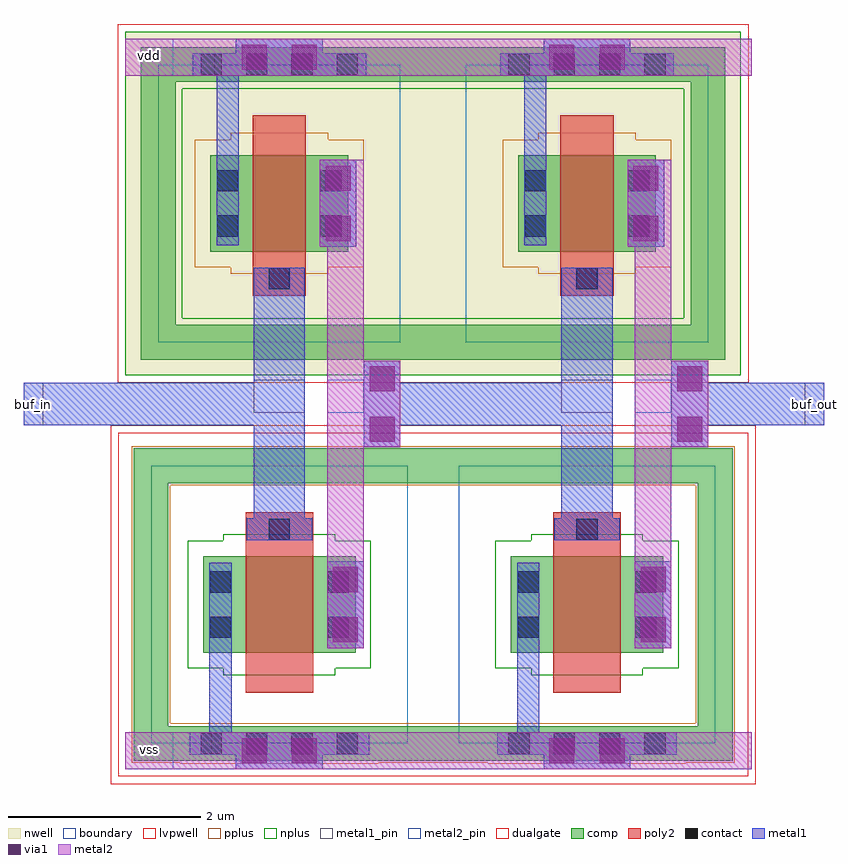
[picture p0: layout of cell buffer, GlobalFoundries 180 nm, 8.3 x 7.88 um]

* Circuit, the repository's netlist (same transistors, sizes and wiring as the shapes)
* NGSPICE file created from buffer.ext - technology: gf180mcuD

.subckt XM2_inv G D w_n319_n356# S
X0 D G S w_n319_n356# pfet_06v0 ad=0.44p pd=2.88u as=0.44p ps=2.88u w=1u l=0.55u
.ends

.subckt XM1_inv G D a_n302_n324# S
X0 D G S a_n302_n324# nfet_06v0 ad=0.44p pd=2.88u as=0.44p ps=2.88u w=1u l=0.7u
.ends

.subckt inv inv_out vdd inv_in vss
XXM2_inv_0 inv_in inv_out vdd vdd XM2_inv
XXM1_inv_0 inv_in inv_out vss vss XM1_inv
.ends

.subckt buffer vdd vss buf_in buf_out
Xinv_0 buf_out vdd inv_0/inv_in vss inv
Xinv_1 inv_0/inv_in vdd buf_in vss inv
.ends

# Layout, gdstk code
import gdstk
lib = gdstk.Library(unit=1e-6, precision=1e-09)
def R(c, l, rs):  # rectangles x0, y0, x1, y1
    for r in rs: c.add(gdstk.rectangle(r[:2], r[2:], *l))
def A(c, l, x, y, w, h, nx, ny, dx, dy):  # array of equal rectangles
    R(c, l, [(x+i*dx, y+j*dy, x+i*dx+w, y+j*dy+h) for i in range(nx) for j in range(ny)])
boundary = (0, 0)
nwell = (21, 0)
comp = (22, 0)
poly2 = (30, 0)
pplus = (31, 0)
nplus = (32, 0)
contact = (33, 0)
metal1 = (34, 0)
metal1_pin = (34, 10)
via1 = (35, 0)
metal2 = (36, 0)
metal2_pin = (36, 10)
dualgate = (55, 0)
lvpwell = (204, 0)

xm2_inv1 = lib.new_cell('XM2_inv1')
R(xm2_inv1, boundary, [(-1.255,-1.44,1.255,1.44)])
R(xm2_inv1, nwell, [(-1.595,-1.78,1.595,1.78)])
R(xm2_inv1, comp, [(-1.435,-1.62,1.595,-1.26), (-1.435,-1.26,-1.075,1.26), (-0.715,-0.5,0.715,0.5), (-1.435,1.26,1.595,1.62)])
R(xm2_inv1, poly2, [(-0.275,-0.915,0.275,0.96)])
R(xm2_inv1, pplus, [(-0.505,-0.73,0.505,-0.66), (-0.875,-0.66,0.875,0.66), (-0.505,0.66,0.505,0.73)])
R(xm2_inv1, nplus, [(-1.595,-1.78,1.595,-1.19), (-1.595,-1.19,-1.005,1.19), (-1.595,1.19,1.595,1.78)])
A(xm2_inv1, contact, -0.815, -1.55, 0.22, 0.22, 4, 1, 0.47, 0)
R(xm2_inv1, contact, [(-0.645,-0.345,-0.425,-0.125), (0.425,-0.345,0.645,-0.125), (-0.645,0.125,-0.425,0.345), (0.425,0.125,0.645,0.345), (-0.11,0.67,0.11,0.89)])
R(xm2_inv1, metal1, [(-0.9,-1.555,0.9,-1.325), (-0.65,-0.435,-0.42,0.435), (0.42,-0.435,0.65,0.435), (-0.265,0.665,0.265,0.895)])
R(xm2_inv1, dualgate, [(-1.675,-1.86,1.675,1.86)])
xm2_inv1.add(gdstk.Label('D', (0.6,0), layer=34, texttype=0))
xm2_inv1.add(gdstk.Label('S', (-0.6,0), layer=34, texttype=0))
xm2_inv1.add(gdstk.Label('G', (0,0), layer=30, texttype=10))
xm2_inv1.add(gdstk.Label('VSUBS', (-1.418,-1.358), layer=21, texttype=10))

xm1_inv1 = lib.new_cell('XM1_inv1')
R(xm1_inv1, boundary, [(-1.33,-1.44,1.33,1.44)])
R(xm1_inv1, comp, [(-1.51,-1.62,1.595,-1.26), (-1.51,-1.26,-1.15,1.26), (-0.79,-0.5,0.79,0.5), (-1.51,1.26,1.6,1.62)])
R(xm1_inv1, poly2, [(-0.35,-0.915,0.35,0.96), (-0.35,-0.915,0.35,0.96)])
R(xm1_inv1, pplus, [(-1.025,-1.65,1.025,-1.64), (-1.53,-1.64,1.595,-1.23), (-1.53,-1.23,-1.13,1.24), (-1.53,1.24,1.6,1.64)])
R(xm1_inv1, nplus, [(-0.58,-0.73,0.58,-0.66), (-0.95,-0.66,0.95,0.66), (-0.58,0.66,0.58,0.73)])
A(xm1_inv1, contact, -0.815, -1.55, 0.22, 0.22, 4, 1, 0.47, 0)
R(xm1_inv1, contact, [(-0.72,-0.345,-0.5,-0.125), (0.5,-0.345,0.72,-0.125), (-0.72,0.125,-0.5,0.345), (0.5,0.125,0.72,0.345), (-0.11,0.67,0.11,0.89)])
R(xm1_inv1, metal1, [(-0.93,-1.555,0.93,-1.325), (-0.725,-0.435,-0.495,0.435), (0.495,-0.435,0.725,0.435), (-0.34,0.665,0.34,0.895)])
R(xm1_inv1, dualgate, [(-1.75,-1.86,1.75,1.86)])
R(xm1_inv1, lvpwell, [(-1.67,-1.78,1.67,1.78)])
xm1_inv1.add(gdstk.Label('D', (0.6,0), layer=34, texttype=0))
xm1_inv1.add(gdstk.Label('S', (-0.6,0), layer=34, texttype=0))
xm1_inv1.add(gdstk.Label('G', (0,0), layer=30, texttype=10))
xm1_inv1.add(gdstk.Label('VSUBS', (-1.424,-1.445), layer=204, texttype=10))

inv1 = lib.new_cell('inv1')
R(inv1, metal1, [(3.55,-5.865,4.45,-5.485), (3.275,-5.715,3.505,-3.725), (4.495,-4.61,4.875,-3.71), (3.735,-3.495,4.265,-0.665), (4.42,-0.45,4.8,0.45), (3.35,-0.435,3.58,1.555), (3.55,1.325,4.45,1.705)])
R(inv1, metal1_pin, [(3.07,-5.715,3.3,-5.485), (3.735,-2.17,4.265,-1.83), (3.1,1.325,3.33,1.555)])
R(inv1, via1, [(3.61,-5.805,3.87,-5.545), (4.13,-5.805,4.39,-5.545), (4.555,-4.55,4.815,-4.29), (4.555,-4.03,4.815,-3.77), (4.48,-0.39,4.74,-0.13), (4.48,0.13,4.74,0.39), (3.61,1.385,3.87,1.645), (4.13,1.385,4.39,1.645)])
R(inv1, metal2, [(2.5,-5.865,5.595,-5.485), (3.55,-5.865,4.45,-5.485), (4.495,-4.61,4.875,-3.71), (4.495,-4.61,4.875,0.45), (4.42,-0.45,4.8,0.45), (2.5,1.325,5.595,1.705), (3.55,1.325,4.45,1.705)])
R(inv1, metal2_pin, [(4.495,-2.17,4.875,-1.83)])
inv1.add(gdstk.Reference(xm2_inv1, (4,0), x_reflection=True))
inv1.add(gdstk.Reference(xm1_inv1, (4,-4.16)))
inv1.add(gdstk.Label('vdd', (3.214,1.44), layer=34, texttype=10))
inv1.add(gdstk.Label('vss', (3.184,-5.6), layer=34, texttype=10))
inv1.add(gdstk.Label('inv_in', (3.999,-1.987), layer=34, texttype=10))
inv1.add(gdstk.Label('inv_out', (4.68,-1.998), layer=36, texttype=10))

xm2_inv2 = lib.new_cell('XM2_inv2')
R(xm2_inv2, boundary, [(-1.255,-1.44,1.255,1.44)])
R(xm2_inv2, nwell, [(-1.595,-1.78,1.595,1.78)])
R(xm2_inv2, comp, [(-1.595,-1.62,1.435,-1.26), (1.075,-1.26,1.435,1.26), (-0.715,-0.5,0.715,0.5), (-1.595,1.26,1.435,1.62)])
R(xm2_inv2, poly2, [(-0.275,-0.915,0.275,0.96)])
R(xm2_inv2, pplus, [(-0.505,-0.73,0.505,-0.66), (-0.875,-0.66,0.875,0.66), (-0.505,0.66,0.505,0.73)])
R(xm2_inv2, nplus, [(-1.595,-1.78,1.595,-1.19), (1.005,-1.19,1.595,1.19), (-1.595,1.19,1.595,1.78)])
A(xm2_inv2, contact, -0.815, -1.55, 0.22, 0.22, 4, 1, 0.47, 0)
R(xm2_inv2, contact, [(-0.645,-0.345,-0.425,-0.125), (0.425,-0.345,0.645,-0.125), (-0.645,0.125,-0.425,0.345), (0.425,0.125,0.645,0.345), (-0.11,0.67,0.11,0.89)])
R(xm2_inv2, metal1, [(-0.9,-1.555,0.9,-1.325), (-0.65,-0.435,-0.42,0.435), (0.42,-0.435,0.65,0.435), (-0.265,0.665,0.265,0.895)])
R(xm2_inv2, dualgate, [(-1.675,-1.86,1.675,1.86)])
xm2_inv2.add(gdstk.Label('D', (0.6,0), layer=34, texttype=0))
xm2_inv2.add(gdstk.Label('S', (-0.6,0), layer=34, texttype=0))
xm2_inv2.add(gdstk.Label('G', (0,0), layer=30, texttype=10))
xm2_inv2.add(gdstk.Label('VSUBS', (-1.418,-1.358), layer=21, texttype=10))

xm1_inv2 = lib.new_cell('XM1_inv2')
R(xm1_inv2, boundary, [(-1.33,-1.44,1.33,1.44)])
R(xm1_inv2, comp, [(-1.595,-1.62,1.51,-1.26), (1.15,-1.26,1.51,1.26), (-0.79,-0.5,0.79,0.5), (-1.59,1.26,1.51,1.62)])
R(xm1_inv2, poly2, [(-0.35,-0.915,0.35,0.96), (-0.35,-0.915,0.35,0.96)])
R(xm1_inv2, pplus, [(-1.025,-1.65,1.025,-1.64), (-1.595,-1.64,1.53,-1.23), (1.13,-1.23,1.53,1.24), (-1.59,1.24,1.53,1.64)])
R(xm1_inv2, nplus, [(-0.58,-0.73,0.58,-0.66), (-0.95,-0.66,0.95,0.66), (-0.58,0.66,0.58,0.73)])
A(xm1_inv2, contact, -0.815, -1.55, 0.22, 0.22, 4, 1, 0.47, 0)
R(xm1_inv2, contact, [(-0.72,-0.345,-0.5,-0.125), (0.5,-0.345,0.72,-0.125), (-0.72,0.125,-0.5,0.345), (0.5,0.125,0.72,0.345), (-0.11,0.67,0.11,0.89)])
R(xm1_inv2, metal1, [(-0.93,-1.555,0.93,-1.325), (-0.725,-0.435,-0.495,0.435), (0.495,-0.435,0.725,0.435), (-0.34,0.665,0.34,0.895)])
R(xm1_inv2, dualgate, [(-1.75,-1.86,1.75,1.86)])
R(xm1_inv2, lvpwell, [(-1.67,-1.78,1.67,1.78)])
xm1_inv2.add(gdstk.Label('D', (0.6,0), layer=34, texttype=0))
xm1_inv2.add(gdstk.Label('S', (-0.6,0), layer=34, texttype=0))
xm1_inv2.add(gdstk.Label('G', (0,0), layer=30, texttype=10))
xm1_inv2.add(gdstk.Label('VSUBS', (-1.424,-1.445), layer=204, texttype=10))

inv2 = lib.new_cell('inv2')
R(inv2, metal1, [(3.55,-5.865,4.45,-5.485), (3.275,-5.715,3.505,-3.725), (4.495,-4.61,4.875,-3.71), (3.735,-3.495,4.265,-0.665), (4.42,-0.45,4.8,0.45), (3.35,-0.435,3.58,1.555), (3.55,1.325,4.45,1.705)])
R(inv2, metal1_pin, [(3.07,-5.715,3.3,-5.485), (3.735,-2.17,4.265,-1.83), (3.1,1.325,3.33,1.555)])
R(inv2, via1, [(3.61,-5.805,3.87,-5.545), (4.13,-5.805,4.39,-5.545), (4.555,-4.55,4.815,-4.29), (4.555,-4.03,4.815,-3.77), (4.48,-0.39,4.74,-0.13), (4.48,0.13,4.74,0.39), (3.61,1.385,3.87,1.645), (4.13,1.385,4.39,1.645)])
R(inv2, metal2, [(2.405,-5.865,5.5,-5.485), (3.55,-5.865,4.45,-5.485), (4.495,-4.61,4.875,-3.71), (4.495,-4.61,4.875,0.45), (4.42,-0.45,4.8,0.45), (2.405,1.325,5.5,1.705), (3.55,1.325,4.45,1.705)])
R(inv2, metal2_pin, [(4.495,-2.17,4.875,-1.83)])
inv2.add(gdstk.Reference(xm2_inv2, (4,0), x_reflection=True))
inv2.add(gdstk.Reference(xm1_inv2, (4,-4.16)))
inv2.add(gdstk.Label('vdd', (3.214,1.44), layer=34, texttype=10))
inv2.add(gdstk.Label('vss', (3.184,-5.6), layer=34, texttype=10))
inv2.add(gdstk.Label('inv_in', (3.999,-1.987), layer=34, texttype=10))
inv2.add(gdstk.Label('inv_out', (4.68,-1.998), layer=36, texttype=10))

buffer = lib.new_cell('buffer')
R(buffer, metal1, [(-0.625,-0.45,-0.245,0.45), (2.565,-0.45,2.945,0.45), (-4.15,-0.22,-1.235,0.22), (-0.625,-0.22,1.955,0.22), (2.565,-0.22,4.15,0.22)])
R(buffer, metal1_pin, [(-4.15,-0.22,-3.95,0.22), (3.95,-0.22,4.15,0.22)])
R(buffer, via1, [(-0.565,-0.39,-0.305,-0.13), (2.625,-0.39,2.885,-0.13), (-0.565,0.13,-0.305,0.39), (2.625,0.13,2.885,0.39)])
R(buffer, metal2, [(-3.1,-3.785,3.4,-3.405), (-0.625,-0.45,-0.245,0.45), (2.565,-0.45,2.945,0.45), (-3.1,3.405,3.4,3.785)])
R(buffer, metal2_pin, [(-3.1,-3.785,-2.6,-3.405), (-3.1,3.405,-2.6,3.785)])
buffer.add(gdstk.Reference(inv1, (-5.5,2.08)))
buffer.add(gdstk.Reference(inv2, (-2.31,2.08)))
buffer.add(gdstk.Label('buf_in', (-4.054,-0.001), layer=34, texttype=10))
buffer.add(gdstk.Label('buf_out', (4.046,-0.001), layer=34, texttype=10))
buffer.add(gdstk.Label('vss', (-2.85,-3.58), layer=36, texttype=10))
buffer.add(gdstk.Label('vdd', (-2.85,3.61), layer=36, texttype=10))

lib.write_gds('buffer.gds')
